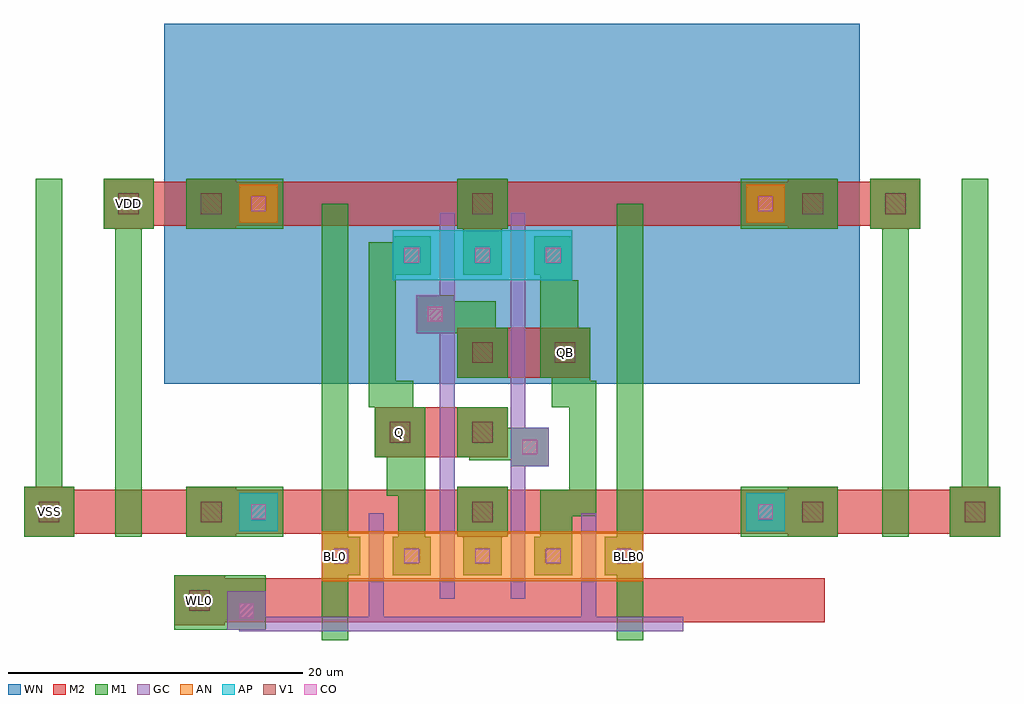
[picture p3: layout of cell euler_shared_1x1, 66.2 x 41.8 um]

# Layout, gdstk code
import gdstk
lib = gdstk.Library(unit=1e-6, precision=1e-07)
def R(c, l, rs):  # rectangles x0, y0, x1, y1
    for r in rs: c.add(gdstk.rectangle(r[:2], r[2:], *l))
def A(c, l, x, y, w, h, nx, ny, dx, dy):  # array of equal rectangles
    R(c, l, [(x+i*dx, y+j*dy, x+i*dx+w, y+j*dy+h) for i in range(nx) for j in range(ny)])
def P(c, l, *ps):  # polygons
    for p in ps: c.add(gdstk.Polygon(p, *l))
AP = (3, 1)
AN = (3, 2)
GC = (8, 1)
CO = (11, 0)
M1 = (13, 0)
V1 = (19, 0)
M2 = (20, 0)
WN = (140, 0)

euler = lib.new_cell('euler')
R(euler, AP, [(3.5,18.7,15.7,22.1)])
R(euler, AN, [(-1.3,-1.7,20.5,1.7)])
R(euler, GC, [(0,-5.1,23.2,-4.1), (1.9,-5.1,2.9,2.9), (16.3,-5.1,17.3,2.9), (6.7,-2.9,7.7,23.3), (11.5,-2.9,12.5,23.3), (11.5,6.1,14.1,8.7), (11.5,6.9,13.3,7.9), (5.1,15.1,7.7,17.7), (5.9,15.9,7.7,16.9)])
A(euler, CO, -0.5, -0.5, 1, 1, 5, 1, 4.8, 0)
A(euler, CO, 4.3, 19.9, 1, 1, 3, 1, 4.8, 0)
R(euler, CO, [(12.3,6.9,13.3,7.9), (5.9,15.9,6.9,16.9)])
P(euler, M1, [(8.3,-1.3),(8.3,1.3),(7.9,1.3),(7.9,4.7),(11.3,4.7),(11.3,1.3),(10.9,1.3),(10.9,-1.3)],
  [(11.5,6.1),(11.5,6.5),(8.7,6.5),(8.7,6.7),(7.9,6.7),(7.9,10.1),(11.3,10.1),(11.3,8.7),(14.1,8.7),(14.1,6.1)],
  [(7.9,12.1),(7.9,15.1),(5.1,15.1),(5.1,17.7),(7.7,17.7),(7.7,17.3),(10.5,17.3),(10.5,15.5),(11.3,15.5),(11.3,12.1)],
  [(3.5,-1.3),(3.5,1.3),(3.9,1.3),(3.9,4.1),(3.1,4.1),(3.1,6.7),(2.3,6.7),(2.3,10.1),(1.9,10.1),(1.9,21.3),(3.5,21.3),(3.5,21.7),(6.1,21.7),(6.1,19.1),(3.7,19.1),(3.7,11.9),(4.9,11.9),(4.9,10.1),(5.7,10.1),(5.7,1.3),(6.1,1.3),(6.1,-1.3)],
  [(13.1,-1.3),(13.1,1.3),(13.5,1.3),(13.5,4.5),(15.5,4.5),(15.5,10.1),(14.3,10.1),(14.3,12.1),(13.5,12.1),(13.5,19.1),(13.1,19.1),(13.1,21.7),(15.7,21.7),(15.7,18.7),(16.1,18.7),(16.1,15.5),(16.9,15.5),(16.9,11.9),(17.3,11.9),(17.3,2.7),(15.7,2.7),(15.7,-1.3)],
  [(-1.3,-5.7),(-1.3,23.9),(0.5,23.9),(0.5,1.3),(1.3,1.3),(1.3,-1.3),(0.5,-1.3),(0.5,-5.7)],
  [(18.7,-5.7),(18.7,-1.3),(17.9,-1.3),(17.9,1.3),(18.7,1.3),(18.7,23.9),(20.5,23.9),(20.5,-5.7)],
  [(8.3,19.1),(8.3,22.2),(7.9,22.2),(7.9,25.6),(11.3,25.6),(11.3,22.2),(10.9,22.2),(10.9,19.1)])
A(euler, V1, 8.9, 2.3, 1.4, 1.4, 1, 3, 0, 5.4)
R(euler, V1, [(3.3,7.7,4.7,9.1), (14.5,13.1,15.9,14.5), (8.9,23.2,10.3,24.6)])
A(euler, M2, 7.9, 1.3, 3.4, 3.4, 1, 3, 0, 5.4)
R(euler, M2, [(0,-4.5,23.2,-1.5), (0,1.5,23.2,4.5), (2.3,6.7,5.7,10.1), (2.3,6.7,11.3,10.1), (7.9,12.1,16.9,15.5), (13.5,12.1,16.9,15.5), (7.9,22.2,11.3,25.6), (0,22.4,23.2,25.4)])
R(euler, WN, [(-3.5,11.7,26.7,29.1)])

euler_shared_1x1 = lib.new_cell('euler_shared_1x1')
R(euler_shared_1x1, AP, [(-6.9,7.4,-4.3,10), (27.5,7.4,30.1,10)])
R(euler_shared_1x1, AN, [(-6.9,28.3,-4.3,30.9), (27.5,28.3,30.1,30.9)])
R(euler_shared_1x1, GC, [(-6.9,0.6,-5.9,2.5), (-6.4,0.6,0,1.6), (-7.7,0.7,-5.1,3.3)])
R(euler_shared_1x1, CO, [(-6.9,1.5,-5.9,2.5), (-6.1,8.2,-5.1,9.2), (28.3,8.2,29.3,9.2), (-6.1,29.1,-5.1,30.1), (28.3,29.1,29.3,30.1)])
R(euler_shared_1x1, M1, [(-11.3,0.7,-5.1,4.4), (-7.7,0.7,-5.1,3.3), (-11.3,1,-7.9,4.4), (-21.5,7,-18.1,10.4), (-20.7,7,-18.9,31.3), (-15.3,7,-13.5,31.3), (-10.5,7,-7.1,10.4), (-10.5,7,-3.9,10.4), (27.1,7,33.7,10.4), (30.3,7,33.7,10.4), (36.7,7,38.5,31.3), (41.3,7,44.7,10.4), (42.1,7,43.9,31.3), (-6.9,7.4,-4.3,10), (27.5,7.4,30.1,10), (-16.1,27.9,-12.7,31.3), (-10.5,27.9,-7.1,31.3), (-10.5,27.9,-3.9,31.3), (27.1,27.9,33.7,31.3), (30.3,27.9,33.7,31.3), (35.9,27.9,39.3,31.3), (-6.9,28.3,-4.3,30.9), (27.5,28.3,30.1,30.9)])
R(euler_shared_1x1, V1, [(-10.3,2,-8.9,3.4), (-20.5,8,-19.1,9.4), (-9.5,8,-8.1,9.4), (31.3,8,32.7,9.4), (42.3,8,43.7,9.4), (-15.1,28.9,-13.7,30.3), (-9.5,28.9,-8.1,30.3), (31.3,28.9,32.7,30.3), (36.9,28.9,38.3,30.3)])
R(euler_shared_1x1, M2, [(-11.3,1,-7.9,4.4), (-9.6,1.2,32.8,4.2), (-21.5,7,-18.1,10.4), (-10.5,7,-7.1,10.4), (30.3,7,33.7,10.4), (41.3,7,44.7,10.4), (-21.5,7.2,24.9,10.2), (-1.7,7.2,44.7,10.2), (-16.1,27.9,-12.7,31.3), (-10.5,27.9,-7.1,31.3), (30.3,27.9,33.7,31.3), (35.9,27.9,39.3,31.3), (-16.1,28.1,24.9,31.1), (-1.7,28.1,39.3,31.1)])
R(euler_shared_1x1, WN, [(-12,17.4,35.2,41.8), (0,17.4,35.2,41.8)])
euler_shared_1x1.add(gdstk.Reference(euler, (0,5.7)))
euler_shared_1x1.add(gdstk.Label('WL0', (-9.6,2.7), layer=49, texttype=0))
euler_shared_1x1.add(gdstk.Label('VDD', (-14.4,29.6), layer=48, texttype=0))
euler_shared_1x1.add(gdstk.Label('VSS', (-19.8,8.7), layer=48, texttype=0))
euler_shared_1x1.add(gdstk.Label('BL0', (-0.4,5.7), layer=48, texttype=0))
euler_shared_1x1.add(gdstk.Label('BLB0', (19.6,5.7), layer=48, texttype=0))
euler_shared_1x1.add(gdstk.Label('Q', (4,14.1), layer=48, texttype=0))
euler_shared_1x1.add(gdstk.Label('QB', (15.2,19.5), layer=48, texttype=0))

lib.write_gds('euler_shared_1x1.gds')
